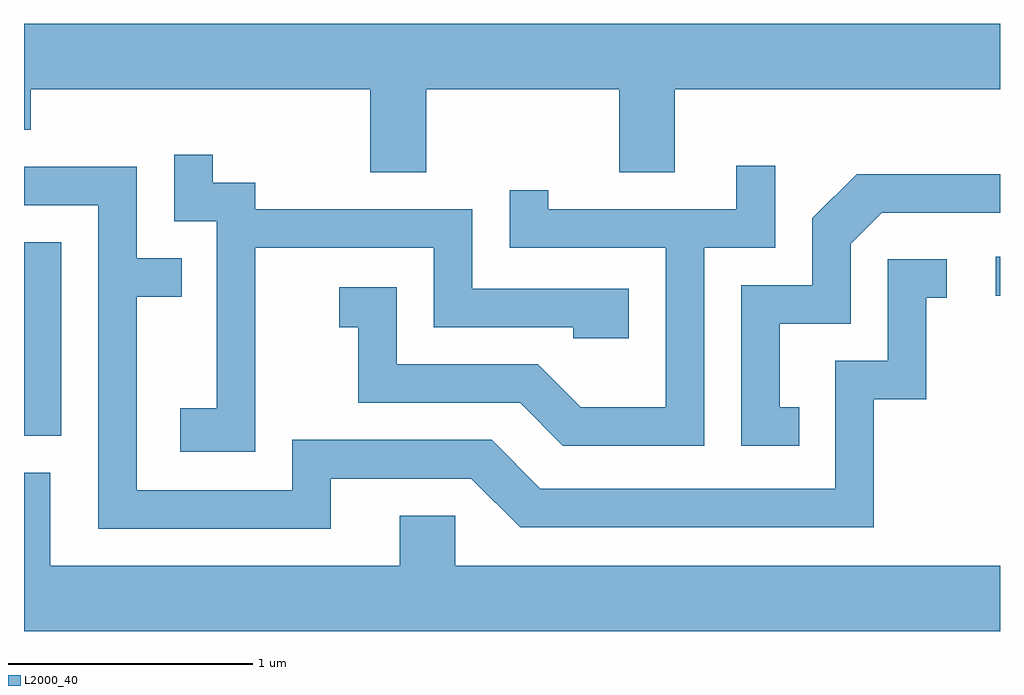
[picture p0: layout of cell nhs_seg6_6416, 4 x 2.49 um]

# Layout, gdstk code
import gdstk
lib = gdstk.Library(unit=1e-6, precision=1e-09)
def R(c, l, rs):  # rectangles x0, y0, x1, y1
    for r in rs: c.add(gdstk.rectangle(r[:2], r[2:], *l))
def P(c, l, *ps):  # polygons
    for p in ps: c.add(gdstk.Polygon(p, *l))
L2000_40 = (2000, 40)

nhs_seg6_6416 = lib.new_cell('nhs_seg6_6416')
R(nhs_seg6_6416, L2000_40, [(379.611,1593.016,379.764,1593.809), (383.593,1593.591,383.611,1593.749)])
P(nhs_seg6_6416, L2000_40, [(381.259,1594.436),(382.051,1594.436),(382.051,1594.096),(382.279,1594.096),(382.279,1594.436),(383.611,1594.436),(383.611,1594.704),(379.611,1594.704),(379.611,1594.271),(379.639,1594.271),(379.639,1594.436),(381.031,1594.436),(381.031,1594.096),(381.259,1594.096)],
  [(380.559,1593.786),(381.291,1593.786),(381.291,1593.461),(381.861,1593.461),(381.861,1593.416),(382.089,1593.416),(382.089,1593.619),(381.449,1593.619),(381.449,1593.944),(380.559,1593.944),(380.559,1594.054),(380.384,1594.054),(380.384,1594.168),(380.226,1594.168),(380.226,1593.896),(380.401,1593.896),(380.401,1593.129),(380.251,1593.129),(380.251,1592.951),(380.559,1592.951)],
  [(382.399,1593.786),(382.689,1593.786),(382.689,1594.123),(382.531,1594.123),(382.531,1593.944),(381.759,1593.944),(381.759,1594.023),(381.601,1594.023),(381.601,1593.786),(382.241,1593.786),(382.241,1593.134),(381.892,1593.134),(381.717,1593.309),(381.139,1593.309),(381.139,1593.624),(380.903,1593.624),(380.903,1593.461),(380.981,1593.461),(380.981,1593.151),(381.644,1593.151),(381.819,1592.976),(382.399,1592.976)],
  [(380.869,1592.841),(381.444,1592.841),(381.644,1592.641),(383.094,1592.641),(383.094,1593.166),(383.309,1593.166),(383.309,1593.581),(383.393,1593.581),(383.393,1593.739),(383.151,1593.739),(383.151,1593.324),(382.936,1593.324),(382.936,1592.799),(381.727,1592.799),(381.527,1592.999),(380.711,1592.999),(380.711,1592.794),(380.074,1592.794),(380.074,1593.586),(380.258,1593.586),(380.258,1593.744),(380.074,1593.744),(380.074,1594.119),(379.611,1594.119),(379.611,1593.961),(379.916,1593.961),(379.916,1592.636),(380.869,1592.636)],
  [(382.788,1593.134),(382.709,1593.134),(382.709,1593.476),(382.999,1593.476),(382.999,1593.804),(383.127,1593.931),(383.611,1593.931),(383.611,1594.089),(383.024,1594.089),(382.841,1593.907),(382.841,1593.634),(382.551,1593.634),(382.551,1592.976),(382.788,1592.976)],
  [(383.611,1592.484),(381.379,1592.484),(381.379,1592.689),(381.151,1592.689),(381.151,1592.484),(379.719,1592.484),(379.719,1592.864),(379.611,1592.864),(379.611,1592.216),(383.611,1592.216)])

lib.write_gds('nhs_seg6_6416.gds')
